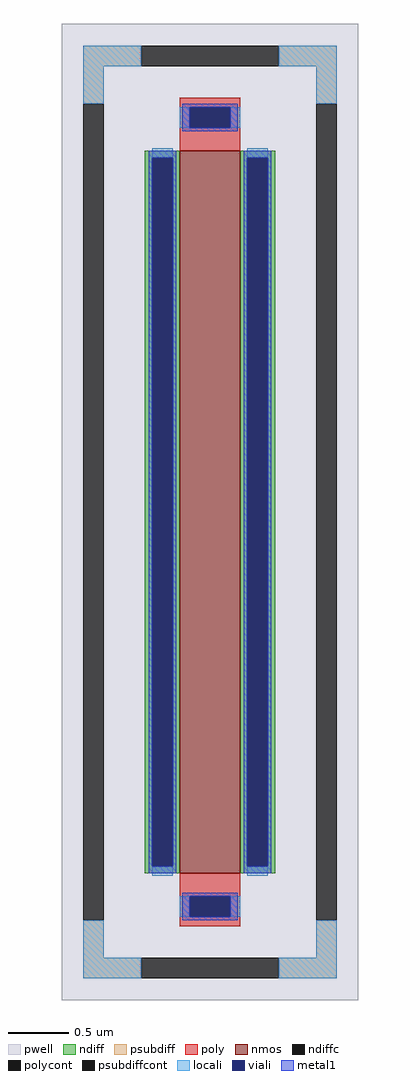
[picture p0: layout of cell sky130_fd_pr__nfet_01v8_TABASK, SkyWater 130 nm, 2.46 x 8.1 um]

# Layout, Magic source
magic
tech sky130A
<< pwell >>
rect -123 -405 123 405
<< nmos >>
rect -25 -300 25 300
<< ndiff >>
rect -54 294 -25 300
rect -54 -294 -48 294
rect -31 -294 -25 294
rect -54 -300 -25 -294
rect 25 294 54 300
rect 25 -294 31 294
rect 48 -294 54 294
rect 25 -300 54 -294
<< ndiffc >>
rect -48 -294 -31 294
rect 31 -294 48 294
<< psubdiff >>
rect -105 370 -57 387
rect 57 370 105 387
rect -105 339 -88 370
rect 88 339 105 370
rect -105 -370 -88 -339
rect 88 -370 105 -339
rect -105 -387 -57 -370
rect 57 -387 105 -370
<< psubdiffcont >>
rect -57 370 57 387
rect -105 -339 -88 339
rect 88 -339 105 339
rect -57 -387 57 -370
<< poly >>
rect -25 336 25 344
rect -25 319 -17 336
rect 17 319 25 336
rect -25 300 25 319
rect -25 -319 25 -300
rect -25 -336 -17 -319
rect 17 -336 25 -319
rect -25 -344 25 -336
<< polycont >>
rect -17 319 17 336
rect -17 -336 17 -319
<< locali >>
rect -105 370 -57 387
rect 57 370 105 387
rect -105 339 -88 370
rect 88 339 105 370
rect -25 319 -17 336
rect 17 319 25 336
rect -48 294 -31 302
rect -48 -302 -31 -294
rect 31 294 48 302
rect 31 -302 48 -294
rect -25 -336 -17 -319
rect 17 -336 25 -319
rect -105 -370 -88 -339
rect 88 -370 105 -339
rect -105 -387 -57 -370
rect 57 -387 105 -370
<< viali >>
rect -17 319 17 336
rect -48 -294 -31 294
rect 31 -294 48 294
rect -17 -336 17 -319
<< metal1 >>
rect -23 336 23 339
rect -23 319 -17 336
rect 17 319 23 336
rect -23 316 23 319
rect -51 294 -28 300
rect -51 -294 -48 294
rect -31 -294 -28 294
rect -51 -300 -28 -294
rect 28 294 51 300
rect 28 -294 31 294
rect 48 -294 51 294
rect 28 -300 51 -294
rect -23 -319 23 -316
rect -23 -336 -17 -319
rect 17 -336 23 -319
rect -23 -339 23 -336
<< properties >>
string FIXED_BBOX -96 -378 96 378
string gencell sky130_fd_pr__nfet_01v8
string library sky130
string parameters w 6 l 0.5 m 1 nf 1 diffcov 100 polycov 100 guard 1 glc 1 grc 1 gtc 1 gbc 1 tbcov 100 rlcov 100 topc 1 botc 1 poverlap 0 doverlap 1 lmin 0.15 wmin 0.42 compatible {sky130_fd_pr__nfet_01v8 sky130_fd_pr__nfet_01v8_lvt  sky130_fd_bs_flash__special_sonosfet_star  sky130_fd_pr__nfet_g5v0d10v5 sky130_fd_pr__nfet_05v0_nvt  sky130_fd_pr__nfet_03v3_nvt} full_metal 1 viasrc 100 viadrn 100 viagate 100 viagb 0 viagr 0 viagl 0 viagt 0
<< end >>
